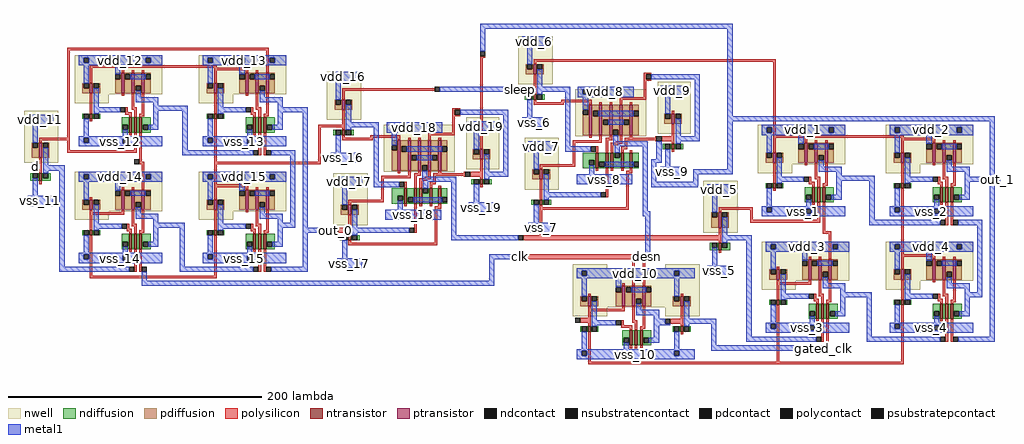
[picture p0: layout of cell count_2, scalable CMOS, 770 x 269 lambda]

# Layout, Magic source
magic
tech scmos
<< nwell >>
rect -350 213 -281 244
rect -252 213 -183 244
rect -350 206 -323 213
rect -252 206 -225 213
rect -390 159 -363 200
rect -151 193 -124 231
rect 0 221 27 259
rect -106 152 -50 189
rect -41 154 -15 195
rect 45 180 101 217
rect 110 182 136 223
rect -350 121 -281 152
rect -252 121 -183 152
rect -350 114 -323 121
rect -252 114 -225 121
rect -146 110 -119 151
rect 5 138 32 179
rect 189 158 258 189
rect 290 158 359 189
rect 189 151 216 158
rect 290 151 317 158
rect 146 104 173 145
rect 43 76 70 79
rect 116 76 143 79
rect 43 45 143 76
rect 192 66 261 97
rect 290 66 359 97
rect 192 59 219 66
rect 290 59 317 66
rect 43 38 70 45
rect 116 38 143 45
<< polysilicon >>
rect -356 248 -197 250
rect -356 179 -354 248
rect -338 234 -238 236
rect -338 222 -336 234
rect -313 230 -311 234
rect -240 232 -213 234
rect -305 230 -303 232
rect -297 230 -295 232
rect -240 222 -238 232
rect -215 230 -213 232
rect -207 230 -205 232
rect -199 230 -197 248
rect -30 242 -26 243
rect -139 216 -66 218
rect -338 198 -336 214
rect -313 212 -311 214
rect -305 203 -303 214
rect -310 199 -308 203
rect -305 201 -301 203
rect -310 197 -305 199
rect -307 195 -305 197
rect -303 195 -301 201
rect -297 198 -295 214
rect -240 198 -238 214
rect -215 212 -213 214
rect -207 203 -205 214
rect -211 199 -209 203
rect -207 201 -203 203
rect -299 196 -295 198
rect -299 195 -297 196
rect -338 192 -336 194
rect -211 197 -207 199
rect -209 195 -207 197
rect -205 195 -203 201
rect -199 198 -197 214
rect -139 209 -137 216
rect -52 201 -46 202
rect -201 196 -197 198
rect -201 195 -199 196
rect -307 181 -305 183
rect -378 177 -354 179
rect -378 175 -376 177
rect -356 169 -354 177
rect -303 169 -301 183
rect -356 167 -301 169
rect -378 158 -376 163
rect -299 160 -297 183
rect -240 160 -238 194
rect -139 189 -137 201
rect -52 197 -50 201
rect -52 196 -46 197
rect -158 187 -137 189
rect -209 181 -207 183
rect -205 165 -203 183
rect -201 165 -199 183
rect -158 160 -156 187
rect -139 185 -137 187
rect -52 183 -50 196
rect -71 181 -50 183
rect -139 179 -137 181
rect -117 179 -93 181
rect -139 177 -115 179
rect -95 177 -93 179
rect -87 177 -85 179
rect -79 177 -77 179
rect -71 177 -69 181
rect -63 177 -61 179
rect -299 158 -295 160
rect -379 154 -376 158
rect -378 151 -376 154
rect -378 142 -376 145
rect -313 138 -311 140
rect -305 138 -303 140
rect -297 138 -295 158
rect -240 158 -156 160
rect -240 142 -238 158
rect -30 170 -28 242
rect 12 239 203 241
rect 12 237 14 239
rect 99 229 105 230
rect 12 219 14 229
rect 4 215 14 219
rect 99 225 101 229
rect 99 224 105 225
rect 12 213 14 215
rect 99 211 101 224
rect 80 209 101 211
rect 12 207 14 209
rect 34 207 58 209
rect 12 205 36 207
rect 56 205 58 207
rect 64 205 66 207
rect 72 205 74 207
rect 80 205 82 209
rect 88 205 90 207
rect 121 198 123 200
rect 56 179 58 181
rect 64 177 66 181
rect 72 179 74 181
rect 43 175 66 177
rect 69 177 74 179
rect -95 151 -93 153
rect -87 149 -85 153
rect -79 151 -77 153
rect -108 147 -85 149
rect -82 149 -77 151
rect -240 140 -213 142
rect -338 130 -336 132
rect -240 130 -238 140
rect -215 138 -213 140
rect -207 138 -205 140
rect -199 138 -197 140
rect -108 130 -106 147
rect -90 139 -88 144
rect -82 139 -80 149
rect -71 148 -69 153
rect -63 151 -61 153
rect -30 152 -28 162
rect 43 158 45 175
rect 61 167 63 172
rect 69 167 71 177
rect 80 176 82 181
rect 88 179 90 181
rect 121 180 123 190
rect 108 179 109 180
rect 77 175 82 176
rect 73 174 82 175
rect 84 177 109 179
rect 73 173 79 174
rect 73 167 75 173
rect 84 172 86 177
rect 108 176 109 177
rect 113 176 123 180
rect 121 174 123 176
rect 201 181 203 239
rect 201 179 304 181
rect 81 170 86 172
rect 81 167 83 170
rect 88 167 90 169
rect 121 168 123 170
rect 201 167 203 179
rect 226 175 228 179
rect 302 177 329 179
rect 234 175 236 177
rect 242 175 244 177
rect 17 156 45 158
rect 17 154 19 156
rect 302 167 304 177
rect 327 175 329 177
rect 335 175 337 177
rect 343 175 345 177
rect -43 151 -42 152
rect -74 147 -69 148
rect -78 146 -69 147
rect -67 149 -42 151
rect -78 145 -72 146
rect -78 139 -76 145
rect -67 144 -65 149
rect -43 148 -42 149
rect -38 148 -28 152
rect -30 146 -28 148
rect 61 153 63 155
rect -70 142 -65 144
rect -70 139 -68 142
rect -63 139 -61 141
rect -30 140 -28 142
rect -134 128 -106 130
rect -134 126 -132 128
rect 17 130 19 146
rect 69 132 71 155
rect 73 153 75 155
rect 81 153 83 155
rect 88 153 90 155
rect 85 151 90 153
rect -338 120 -336 122
rect -313 120 -311 122
rect -338 118 -311 120
rect -338 106 -336 118
rect -305 111 -303 122
rect -309 107 -307 111
rect -305 109 -301 111
rect -309 105 -305 107
rect -307 103 -305 105
rect -303 103 -301 109
rect -297 106 -295 122
rect -240 106 -238 122
rect -215 120 -213 122
rect -207 111 -205 122
rect -211 107 -209 111
rect -207 109 -203 111
rect -299 104 -295 106
rect -299 103 -297 104
rect -338 70 -336 102
rect -211 105 -207 107
rect -209 103 -207 105
rect -205 103 -203 109
rect -199 106 -197 122
rect -90 125 -88 127
rect -134 108 -132 118
rect -201 104 -197 106
rect -142 104 -132 108
rect -82 104 -80 127
rect -78 125 -76 127
rect -70 125 -68 127
rect -63 125 -61 127
rect -66 123 -61 125
rect 17 124 19 126
rect 85 124 87 151
rect 201 143 203 159
rect 226 157 228 159
rect 234 148 236 159
rect 229 144 231 148
rect 234 146 238 148
rect 229 142 234 144
rect 232 140 234 142
rect 236 140 238 146
rect 242 143 244 159
rect 302 143 304 159
rect 327 157 329 159
rect 335 148 337 159
rect 331 144 333 148
rect 335 146 339 148
rect 240 141 244 143
rect 240 140 242 141
rect 201 137 203 139
rect 331 142 335 144
rect 333 140 335 142
rect 337 140 339 146
rect 343 143 345 159
rect 341 141 345 143
rect 341 140 343 141
rect 232 126 234 128
rect -201 103 -199 104
rect -307 89 -305 91
rect -303 73 -301 91
rect -299 73 -297 91
rect -240 70 -238 102
rect -134 102 -132 104
rect -134 96 -132 98
rect -66 96 -64 123
rect 17 122 87 124
rect 158 122 185 124
rect 17 102 19 122
rect 158 120 160 122
rect 183 114 185 122
rect 236 114 238 128
rect 183 112 238 114
rect 158 102 160 108
rect 240 105 242 128
rect 240 103 247 105
rect 4 98 160 102
rect 158 96 160 98
rect -134 94 -64 96
rect -209 89 -207 91
rect -205 73 -203 91
rect -201 73 -199 91
rect 158 88 160 90
rect 4 83 92 87
rect -338 68 -238 70
rect 82 62 84 64
rect 90 62 92 83
rect 98 62 100 87
rect 229 83 231 85
rect 237 83 239 85
rect 245 83 247 103
rect 302 87 304 139
rect 333 126 335 128
rect 337 110 339 128
rect 341 110 343 128
rect 302 85 329 87
rect 204 75 206 77
rect 302 75 304 85
rect 327 83 329 85
rect 335 83 337 85
rect 343 83 345 85
rect 204 65 206 67
rect 229 65 231 67
rect 204 63 231 65
rect 55 54 57 56
rect 128 54 130 56
rect 204 51 206 63
rect 237 56 239 67
rect 233 52 235 56
rect 237 54 241 56
rect 233 50 237 52
rect 235 48 237 50
rect 239 48 241 54
rect 245 51 247 67
rect 302 51 304 67
rect 327 65 329 67
rect 335 56 337 67
rect 331 52 333 56
rect 335 54 339 56
rect 243 49 247 51
rect 243 48 245 49
rect 55 44 57 46
rect 82 44 84 46
rect 55 42 84 44
rect 55 37 57 42
rect 49 33 57 37
rect 90 35 92 46
rect 55 30 57 33
rect 81 31 83 35
rect 90 33 94 35
rect 81 29 90 31
rect 88 27 90 29
rect 92 27 94 33
rect 98 30 100 46
rect 128 36 130 46
rect 120 32 130 36
rect 128 30 130 32
rect 96 28 100 30
rect 96 27 98 28
rect 55 2 57 26
rect 128 24 130 26
rect 88 13 90 15
rect 92 13 94 15
rect 96 13 98 15
rect 204 2 206 47
rect 331 50 335 52
rect 333 48 335 50
rect 337 48 339 54
rect 343 51 345 67
rect 341 49 345 51
rect 341 48 343 49
rect 235 34 237 36
rect 239 18 241 36
rect 243 11 245 36
rect 302 2 304 47
rect 333 34 335 36
rect 337 18 339 36
rect 341 18 343 36
rect 55 0 304 2
<< ndiffusion >>
rect -344 194 -343 198
rect -339 194 -338 198
rect -336 194 -335 198
rect -331 194 -330 198
rect -313 189 -307 195
rect -313 185 -312 189
rect -308 185 -307 189
rect -313 183 -307 185
rect -305 183 -303 195
rect -301 183 -299 195
rect -297 189 -290 195
rect -246 194 -245 198
rect -241 194 -240 198
rect -238 194 -237 198
rect -233 194 -232 198
rect -297 185 -296 189
rect -292 185 -290 189
rect -297 183 -290 185
rect -215 189 -209 195
rect -215 185 -214 189
rect -210 185 -209 189
rect -215 183 -209 185
rect -207 183 -205 195
rect -203 183 -201 195
rect -199 189 -192 195
rect -199 185 -198 189
rect -194 185 -192 189
rect -199 183 -192 185
rect -146 181 -144 185
rect -140 181 -139 185
rect -137 181 -136 185
rect -132 181 -130 185
rect -385 147 -383 151
rect -379 147 -378 151
rect -385 145 -378 147
rect -376 147 -375 151
rect -371 147 -369 151
rect -376 145 -369 147
rect 5 209 7 213
rect 11 209 12 213
rect 14 209 15 213
rect 19 209 21 213
rect 114 170 116 174
rect 120 170 121 174
rect 123 170 124 174
rect 128 170 130 174
rect 51 161 61 167
rect 51 157 56 161
rect 60 157 61 161
rect 51 155 61 157
rect 63 160 69 167
rect 63 156 64 160
rect 68 156 69 160
rect 63 155 69 156
rect 71 155 73 167
rect 75 163 76 167
rect 80 163 81 167
rect 75 155 81 163
rect 83 155 88 167
rect 90 160 95 167
rect 90 156 91 160
rect 90 155 95 156
rect -37 142 -35 146
rect -31 142 -30 146
rect -28 142 -27 146
rect -23 142 -21 146
rect -100 133 -90 139
rect -100 129 -95 133
rect -91 129 -90 133
rect -100 127 -90 129
rect -88 132 -82 139
rect -88 128 -87 132
rect -83 128 -82 132
rect -88 127 -82 128
rect -80 127 -78 139
rect -76 135 -75 139
rect -71 135 -70 139
rect -76 127 -70 135
rect -68 127 -63 139
rect -61 132 -56 139
rect -61 128 -60 132
rect -61 127 -56 128
rect -344 102 -343 106
rect -339 102 -338 106
rect -336 102 -335 106
rect -331 102 -330 106
rect -313 97 -307 103
rect -313 93 -312 97
rect -308 93 -307 97
rect -313 91 -307 93
rect -305 91 -303 103
rect -301 91 -299 103
rect -297 97 -290 103
rect -246 102 -245 106
rect -241 102 -240 106
rect -238 102 -237 106
rect -233 102 -232 106
rect 10 126 12 130
rect 16 126 17 130
rect 19 126 20 130
rect 24 126 26 130
rect 195 139 196 143
rect 200 139 201 143
rect 203 139 204 143
rect 208 139 209 143
rect 226 134 232 140
rect 226 130 227 134
rect 231 130 232 134
rect 226 128 232 130
rect 234 128 236 140
rect 238 128 240 140
rect 242 134 249 140
rect 296 139 297 143
rect 301 139 302 143
rect 304 139 305 143
rect 309 139 310 143
rect 242 130 243 134
rect 247 130 249 134
rect 242 128 249 130
rect -297 93 -296 97
rect -292 93 -290 97
rect -297 91 -290 93
rect -215 97 -209 103
rect -215 93 -214 97
rect -210 93 -209 97
rect -215 91 -209 93
rect -207 91 -205 103
rect -203 91 -201 103
rect -199 97 -192 103
rect -141 98 -139 102
rect -135 98 -134 102
rect -132 98 -131 102
rect -127 98 -125 102
rect -199 93 -198 97
rect -194 93 -192 97
rect -199 91 -192 93
rect 151 92 153 96
rect 157 92 158 96
rect 151 90 158 92
rect 160 92 161 96
rect 165 92 167 96
rect 160 90 167 92
rect 327 134 333 140
rect 327 130 328 134
rect 332 130 333 134
rect 327 128 333 130
rect 335 128 337 140
rect 339 128 341 140
rect 343 134 350 140
rect 343 130 344 134
rect 348 130 350 134
rect 343 128 350 130
rect 198 47 199 51
rect 203 47 204 51
rect 206 47 207 51
rect 211 47 212 51
rect 49 26 50 30
rect 54 26 55 30
rect 57 26 58 30
rect 62 26 63 30
rect 82 21 88 27
rect 82 17 83 21
rect 87 17 88 21
rect 82 15 88 17
rect 90 15 92 27
rect 94 15 96 27
rect 98 21 105 27
rect 122 26 123 30
rect 127 26 128 30
rect 130 26 131 30
rect 135 26 136 30
rect 98 17 99 21
rect 103 17 105 21
rect 98 15 105 17
rect 229 42 235 48
rect 229 38 230 42
rect 234 38 235 42
rect 229 36 235 38
rect 237 36 239 48
rect 241 36 243 48
rect 245 42 252 48
rect 296 47 297 51
rect 301 47 302 51
rect 304 47 305 51
rect 309 47 310 51
rect 245 38 246 42
rect 250 38 252 42
rect 245 36 252 38
rect 327 42 333 48
rect 327 38 328 42
rect 332 38 333 42
rect 327 36 333 38
rect 335 36 337 48
rect 339 36 341 48
rect 343 42 350 48
rect 343 38 344 42
rect 348 38 350 42
rect 343 36 350 38
<< pdiffusion >>
rect -318 229 -313 230
rect -314 225 -313 229
rect -344 218 -343 222
rect -339 218 -338 222
rect -344 214 -338 218
rect -336 218 -335 222
rect -331 218 -330 222
rect -336 214 -330 218
rect -318 214 -313 225
rect -311 229 -305 230
rect -311 225 -310 229
rect -306 225 -305 229
rect -311 214 -305 225
rect -303 220 -297 230
rect -303 216 -302 220
rect -298 216 -297 220
rect -303 214 -297 216
rect -295 229 -290 230
rect -295 225 -294 229
rect -295 214 -290 225
rect -220 229 -215 230
rect -216 225 -215 229
rect -246 218 -245 222
rect -241 218 -240 222
rect -246 214 -240 218
rect -238 218 -237 222
rect -233 218 -232 222
rect -238 214 -232 218
rect -220 214 -215 225
rect -213 229 -207 230
rect -213 225 -212 229
rect -208 225 -207 229
rect -213 214 -207 225
rect -205 220 -199 230
rect -205 216 -204 220
rect -200 216 -199 220
rect -205 214 -199 216
rect -197 229 -192 230
rect -197 225 -196 229
rect -197 214 -192 225
rect -145 205 -144 209
rect -140 205 -139 209
rect -145 201 -139 205
rect -137 205 -136 209
rect -132 205 -131 209
rect -137 201 -131 205
rect -384 171 -383 175
rect -379 171 -378 175
rect -384 163 -378 171
rect -376 171 -375 175
rect -371 171 -370 175
rect -376 163 -370 171
rect -100 173 -95 177
rect -96 169 -95 173
rect -100 153 -95 169
rect -93 172 -87 177
rect -93 168 -92 172
rect -88 168 -87 172
rect -93 153 -87 168
rect -85 165 -79 177
rect -85 161 -84 165
rect -80 161 -79 165
rect -85 153 -79 161
rect -77 157 -71 177
rect -77 153 -76 157
rect -72 153 -71 157
rect -69 165 -63 177
rect -69 161 -68 165
rect -64 161 -63 165
rect -69 153 -63 161
rect -61 172 -56 177
rect -61 168 -60 172
rect 6 233 7 237
rect 11 233 12 237
rect 6 229 12 233
rect 14 233 15 237
rect 19 233 20 237
rect 14 229 20 233
rect 51 201 56 205
rect 55 197 56 201
rect 51 181 56 197
rect 58 200 64 205
rect 58 196 59 200
rect 63 196 64 200
rect 58 181 64 196
rect 66 193 72 205
rect 66 189 67 193
rect 71 189 72 193
rect 66 181 72 189
rect 74 185 80 205
rect 74 181 75 185
rect 79 181 80 185
rect 82 193 88 205
rect 82 189 83 193
rect 87 189 88 193
rect 82 181 88 189
rect 90 200 95 205
rect 90 196 91 200
rect 90 181 95 196
rect 115 194 116 198
rect 120 194 121 198
rect 115 190 121 194
rect 123 194 124 198
rect 128 194 129 198
rect 123 190 129 194
rect -61 153 -56 168
rect -36 166 -35 170
rect -31 166 -30 170
rect -36 162 -30 166
rect -28 166 -27 170
rect -23 166 -22 170
rect -28 162 -22 166
rect -318 137 -313 138
rect -314 133 -313 137
rect -344 126 -343 130
rect -339 126 -338 130
rect -344 122 -338 126
rect -336 126 -335 130
rect -331 126 -330 130
rect -336 122 -330 126
rect -318 122 -313 133
rect -311 137 -305 138
rect -311 133 -310 137
rect -306 133 -305 137
rect -311 122 -305 133
rect -303 128 -297 138
rect -303 124 -302 128
rect -298 124 -297 128
rect -303 122 -297 124
rect -295 137 -290 138
rect -295 133 -294 137
rect -295 122 -290 133
rect -220 137 -215 138
rect -216 133 -215 137
rect -246 126 -245 130
rect -241 126 -240 130
rect -246 122 -240 126
rect -238 126 -237 130
rect -233 126 -232 130
rect -238 122 -232 126
rect -220 122 -215 133
rect -213 137 -207 138
rect -213 133 -212 137
rect -208 133 -207 137
rect -213 122 -207 133
rect -205 128 -199 138
rect -205 124 -204 128
rect -200 124 -199 128
rect -205 122 -199 124
rect -197 137 -192 138
rect -197 133 -196 137
rect -197 122 -192 133
rect 221 174 226 175
rect 225 170 226 174
rect 195 163 196 167
rect 200 163 201 167
rect 195 159 201 163
rect 203 163 204 167
rect 208 163 209 167
rect 203 159 209 163
rect 221 159 226 170
rect 228 174 234 175
rect 228 170 229 174
rect 233 170 234 174
rect 228 159 234 170
rect 236 165 242 175
rect 236 161 237 165
rect 241 161 242 165
rect 236 159 242 161
rect 244 174 249 175
rect 244 170 245 174
rect 244 159 249 170
rect 322 174 327 175
rect 326 170 327 174
rect 296 163 297 167
rect 301 163 302 167
rect 296 159 302 163
rect 304 163 305 167
rect 309 163 310 167
rect 304 159 310 163
rect 322 159 327 170
rect 329 174 335 175
rect 329 170 330 174
rect 334 170 335 174
rect 329 159 335 170
rect 337 165 343 175
rect 337 161 338 165
rect 342 161 343 165
rect 337 159 343 161
rect 345 174 350 175
rect 345 170 346 174
rect 345 159 350 170
rect 11 150 12 154
rect 16 150 17 154
rect 11 146 17 150
rect 19 150 20 154
rect 24 150 25 154
rect 19 146 25 150
rect -140 122 -139 126
rect -135 122 -134 126
rect -140 118 -134 122
rect -132 122 -131 126
rect -127 122 -126 126
rect -132 118 -126 122
rect 152 116 153 120
rect 157 116 158 120
rect 152 108 158 116
rect 160 116 161 120
rect 165 116 166 120
rect 160 108 166 116
rect 224 82 229 83
rect 228 78 229 82
rect 198 71 199 75
rect 203 71 204 75
rect 198 67 204 71
rect 206 71 207 75
rect 211 71 212 75
rect 206 67 212 71
rect 224 67 229 78
rect 231 82 237 83
rect 231 78 232 82
rect 236 78 237 82
rect 231 67 237 78
rect 239 73 245 83
rect 239 69 240 73
rect 244 69 245 73
rect 239 67 245 69
rect 247 82 252 83
rect 247 78 248 82
rect 247 67 252 78
rect 322 82 327 83
rect 326 78 327 82
rect 296 71 297 75
rect 301 71 302 75
rect 296 67 302 71
rect 304 71 305 75
rect 309 71 310 75
rect 304 67 310 71
rect 322 67 327 78
rect 329 82 335 83
rect 329 78 330 82
rect 334 78 335 82
rect 329 67 335 78
rect 337 73 343 83
rect 337 69 338 73
rect 342 69 343 73
rect 337 67 343 69
rect 345 82 350 83
rect 345 78 346 82
rect 345 67 350 78
rect 77 61 82 62
rect 81 57 82 61
rect 49 50 50 54
rect 54 50 55 54
rect 49 46 55 50
rect 57 50 58 54
rect 62 50 63 54
rect 57 46 63 50
rect 77 46 82 57
rect 84 61 90 62
rect 84 57 85 61
rect 89 57 90 61
rect 84 46 90 57
rect 92 52 98 62
rect 92 48 93 52
rect 97 48 98 52
rect 92 46 98 48
rect 100 61 105 62
rect 100 57 101 61
rect 100 46 105 57
rect 122 50 123 54
rect 127 50 128 54
rect 122 46 128 50
rect 130 50 131 54
rect 135 50 136 54
rect 130 46 136 50
<< metal1 >>
rect -30 265 169 269
rect -30 247 -26 265
rect 3 257 23 259
rect 3 253 7 257
rect 11 253 23 257
rect 3 251 23 253
rect -347 242 -281 244
rect -347 238 -343 242
rect -339 238 -318 242
rect -314 238 -294 242
rect -290 238 -281 242
rect -347 236 -281 238
rect -249 242 -183 244
rect -249 238 -245 242
rect -241 238 -220 242
rect -216 238 -196 242
rect -192 238 -183 242
rect -249 236 -183 238
rect 7 237 11 251
rect -343 222 -339 236
rect -318 229 -314 236
rect -306 225 -294 229
rect -245 222 -241 236
rect -220 229 -216 236
rect -148 229 -128 231
rect -208 225 -196 229
rect -148 225 -144 229
rect -140 225 -128 229
rect -148 223 -128 225
rect -335 203 -331 218
rect -302 211 -298 216
rect -302 207 -284 211
rect -288 204 -284 207
rect -335 199 -314 203
rect -288 200 -261 204
rect -335 198 -331 199
rect -387 195 -367 197
rect -387 191 -383 195
rect -379 191 -367 195
rect -387 189 -367 191
rect -383 175 -379 189
rect -343 180 -339 194
rect -288 189 -284 200
rect -292 185 -284 189
rect -312 180 -308 185
rect -347 179 -281 180
rect -347 175 -343 179
rect -339 178 -281 179
rect -339 175 -312 178
rect -347 174 -312 175
rect -308 174 -281 178
rect -347 172 -281 174
rect -375 157 -371 171
rect -265 169 -261 200
rect -237 203 -233 218
rect -204 211 -200 216
rect -204 207 -186 211
rect -190 203 -186 207
rect -144 209 -140 223
rect 15 219 19 233
rect 105 225 143 229
rect -62 215 0 219
rect 15 215 41 219
rect 15 213 19 215
rect -237 199 -215 203
rect -190 199 -166 203
rect -237 198 -233 199
rect -245 180 -241 194
rect -190 189 -186 199
rect -194 185 -186 189
rect -214 180 -210 185
rect -249 179 -183 180
rect -249 175 -245 179
rect -241 178 -183 179
rect -241 175 -214 178
rect -249 174 -214 175
rect -210 174 -183 178
rect -249 172 -183 174
rect -265 165 -209 169
rect -195 165 -176 169
rect -375 153 -358 157
rect -375 151 -371 153
rect -383 133 -379 147
rect -387 132 -367 133
rect -387 128 -383 132
rect -379 128 -367 132
rect -387 125 -367 128
rect -362 77 -358 153
rect -347 150 -281 152
rect -347 146 -343 150
rect -339 146 -318 150
rect -314 146 -294 150
rect -290 146 -281 150
rect -347 144 -281 146
rect -249 150 -183 152
rect -249 146 -245 150
rect -241 146 -220 150
rect -216 146 -196 150
rect -192 146 -183 150
rect -249 144 -183 146
rect -343 130 -339 144
rect -318 137 -314 144
rect -306 133 -294 137
rect -245 130 -241 144
rect -220 137 -216 144
rect -208 133 -196 137
rect -335 111 -331 126
rect -302 119 -298 124
rect -302 115 -284 119
rect -288 112 -284 115
rect -335 107 -313 111
rect -288 108 -263 112
rect -335 106 -331 107
rect -343 88 -339 102
rect -288 97 -284 108
rect -292 93 -284 97
rect -312 88 -308 93
rect -347 87 -281 88
rect -347 83 -343 87
rect -339 86 -281 87
rect -339 83 -312 86
rect -347 82 -312 83
rect -308 82 -281 86
rect -347 80 -281 82
rect -267 77 -263 108
rect -237 111 -233 126
rect -204 119 -200 124
rect -204 115 -186 119
rect -190 112 -186 115
rect -180 112 -176 165
rect -237 107 -215 111
rect -190 108 -176 112
rect -170 108 -166 199
rect -136 191 -132 205
rect -46 197 -8 201
rect -136 187 -110 191
rect -136 185 -132 187
rect -144 167 -140 181
rect -148 166 -128 167
rect -148 162 -144 166
rect -140 162 -128 166
rect -148 159 -128 162
rect -143 146 -123 148
rect -143 142 -139 146
rect -135 142 -123 146
rect -143 140 -123 142
rect -114 144 -110 187
rect -104 189 -60 191
rect -104 185 -100 189
rect -96 185 -60 189
rect -104 183 -60 185
rect -39 190 -19 192
rect -39 186 -35 190
rect -31 186 -19 190
rect -39 184 -19 186
rect -100 173 -96 183
rect -88 168 -60 172
rect -35 170 -31 184
rect -80 161 -68 165
rect -76 148 -72 153
rect -27 152 -23 166
rect -12 152 -8 197
rect 7 195 11 209
rect 3 194 23 195
rect 3 190 7 194
rect 11 190 23 194
rect 3 187 23 190
rect 8 174 28 176
rect 8 170 12 174
rect 16 170 28 174
rect 8 168 28 170
rect 37 172 41 215
rect 47 217 91 219
rect 47 213 51 217
rect 55 213 91 217
rect 47 211 91 213
rect 112 218 132 220
rect 112 214 116 218
rect 120 214 132 218
rect 112 212 132 214
rect 51 201 55 211
rect 63 196 91 200
rect 116 198 120 212
rect 71 189 83 193
rect 75 176 79 181
rect 124 180 128 194
rect 139 180 143 225
rect 75 173 102 176
rect 76 172 102 173
rect 37 168 57 172
rect -27 148 -8 152
rect 12 154 16 168
rect 76 167 80 172
rect 56 150 60 157
rect 68 156 91 160
rect -76 145 -49 148
rect -27 146 -23 148
rect -75 144 -49 145
rect -114 140 -94 144
rect -139 126 -135 140
rect -75 139 -71 144
rect -95 122 -91 129
rect -83 128 -60 132
rect -131 108 -127 122
rect -105 120 -61 122
rect -105 116 -95 120
rect -91 116 -61 120
rect -105 114 -61 116
rect -237 106 -233 107
rect -245 88 -241 102
rect -190 97 -186 108
rect -194 93 -186 97
rect -170 104 -146 108
rect -131 104 -86 108
rect -214 88 -210 93
rect -249 87 -183 88
rect -249 83 -245 87
rect -241 86 -183 87
rect -241 83 -214 86
rect -249 82 -214 83
rect -210 82 -183 86
rect -249 80 -183 82
rect -170 77 -166 104
rect -131 102 -127 104
rect -53 102 -49 144
rect -35 128 -31 142
rect 20 136 24 150
rect 46 148 90 150
rect 46 144 56 148
rect 60 144 90 148
rect 46 142 90 144
rect 20 132 65 136
rect 20 130 24 132
rect -39 127 -19 128
rect -39 123 -35 127
rect -31 123 -19 127
rect -39 120 -19 123
rect 12 112 16 126
rect 98 121 102 172
rect 109 162 113 176
rect 124 176 143 180
rect 165 196 169 265
rect 165 192 376 196
rect 124 174 128 176
rect 105 159 113 162
rect 105 144 109 159
rect 116 156 120 170
rect 112 155 132 156
rect 112 151 116 155
rect 120 151 132 155
rect 165 154 169 192
rect 192 187 258 189
rect 192 183 196 187
rect 200 183 221 187
rect 225 183 245 187
rect 249 183 258 187
rect 192 181 258 183
rect 293 187 359 189
rect 293 183 297 187
rect 301 183 322 187
rect 326 183 346 187
rect 350 183 359 187
rect 293 181 359 183
rect 196 167 200 181
rect 221 174 225 181
rect 233 170 245 174
rect 297 167 301 181
rect 322 174 326 181
rect 334 170 346 174
rect 112 148 132 151
rect 138 150 169 154
rect 138 144 142 150
rect 105 140 142 144
rect 204 148 208 163
rect 237 156 241 161
rect 237 152 255 156
rect 251 149 255 152
rect 204 144 225 148
rect 251 145 281 149
rect 204 143 208 144
rect 149 140 169 142
rect 149 136 153 140
rect 157 136 169 140
rect 149 134 169 136
rect 98 117 104 121
rect 8 111 28 112
rect 8 107 12 111
rect 16 107 28 111
rect 8 104 28 107
rect -53 98 0 102
rect -139 84 -135 98
rect 100 87 104 117
rect 153 120 157 134
rect 196 125 200 139
rect 251 134 255 145
rect 247 130 255 134
rect 227 125 231 130
rect 192 124 258 125
rect 192 120 196 124
rect 200 123 258 124
rect 200 120 227 123
rect 192 119 227 120
rect 231 119 258 123
rect 192 117 258 119
rect 161 102 165 116
rect 277 114 281 145
rect 305 148 309 163
rect 338 156 342 161
rect 338 152 356 156
rect 352 148 356 152
rect 372 148 376 192
rect 305 144 327 148
rect 352 144 380 148
rect 305 143 309 144
rect 297 125 301 139
rect 352 134 356 144
rect 348 130 356 134
rect 328 125 332 130
rect 293 124 359 125
rect 293 120 297 124
rect 301 123 359 124
rect 301 120 328 123
rect 293 119 328 120
rect 332 119 359 123
rect 293 117 359 119
rect 277 110 333 114
rect 347 110 366 114
rect 161 98 184 102
rect 161 96 165 98
rect -362 73 -307 77
rect -267 73 -209 77
rect -195 73 -166 77
rect -143 83 -123 84
rect -143 79 -139 83
rect -135 79 -123 83
rect -143 76 -123 79
rect -23 83 0 87
rect -297 66 -293 73
rect -23 66 -19 83
rect 153 78 157 92
rect 149 77 169 78
rect 46 74 139 76
rect 46 70 50 74
rect 54 70 77 74
rect 81 70 101 74
rect 105 70 123 74
rect 127 70 139 74
rect 149 73 153 77
rect 157 73 169 77
rect 149 70 169 73
rect 46 68 139 70
rect -297 62 -19 66
rect 50 54 54 68
rect 77 61 81 68
rect 89 57 101 61
rect 123 54 127 68
rect 58 35 62 50
rect 93 43 97 48
rect 93 39 111 43
rect 107 36 111 39
rect 131 36 135 50
rect 58 31 77 35
rect 107 32 116 36
rect 107 31 120 32
rect 131 32 156 36
rect 58 30 62 31
rect 50 12 54 26
rect 107 21 111 31
rect 131 30 135 32
rect 103 17 111 21
rect 83 12 87 17
rect 123 12 127 26
rect 152 15 156 32
rect 180 22 184 98
rect 195 95 261 97
rect 195 91 199 95
rect 203 91 224 95
rect 228 91 248 95
rect 252 91 261 95
rect 195 89 261 91
rect 293 95 359 97
rect 293 91 297 95
rect 301 91 322 95
rect 326 91 346 95
rect 350 91 359 95
rect 293 89 359 91
rect 199 75 203 89
rect 224 82 228 89
rect 236 78 248 82
rect 297 75 301 89
rect 322 82 326 89
rect 334 78 346 82
rect 207 56 211 71
rect 240 64 244 69
rect 240 60 258 64
rect 254 57 258 60
rect 207 52 229 56
rect 254 53 279 57
rect 207 51 211 52
rect 199 33 203 47
rect 254 42 258 53
rect 250 38 258 42
rect 230 33 234 38
rect 195 32 261 33
rect 195 28 199 32
rect 203 31 261 32
rect 203 28 230 31
rect 195 27 230 28
rect 234 27 261 31
rect 195 25 261 27
rect 275 22 279 53
rect 305 56 309 71
rect 338 64 342 69
rect 338 60 356 64
rect 352 57 356 60
rect 362 57 366 110
rect 305 52 327 56
rect 352 53 366 57
rect 305 51 309 52
rect 297 33 301 47
rect 352 42 356 53
rect 348 38 356 42
rect 328 33 332 38
rect 293 32 359 33
rect 293 28 297 32
rect 301 31 359 32
rect 301 28 328 31
rect 293 27 328 28
rect 332 27 359 31
rect 293 25 359 27
rect 372 22 376 144
rect 180 18 235 22
rect 275 18 333 22
rect 347 18 376 22
rect 46 11 139 12
rect 152 11 239 15
rect 46 7 50 11
rect 54 10 123 11
rect 54 7 83 10
rect 46 6 83 7
rect 87 7 123 10
rect 127 7 139 11
rect 87 6 139 7
rect 46 4 139 6
<< ntransistor >>
rect -338 194 -336 198
rect -307 183 -305 195
rect -303 183 -301 195
rect -299 183 -297 195
rect -240 194 -238 198
rect -209 183 -207 195
rect -205 183 -203 195
rect -201 183 -199 195
rect -139 181 -137 185
rect -378 145 -376 151
rect 12 209 14 213
rect 121 170 123 174
rect 61 155 63 167
rect 69 155 71 167
rect 73 155 75 167
rect 81 155 83 167
rect 88 155 90 167
rect -30 142 -28 146
rect -90 127 -88 139
rect -82 127 -80 139
rect -78 127 -76 139
rect -70 127 -68 139
rect -63 127 -61 139
rect -338 102 -336 106
rect -307 91 -305 103
rect -303 91 -301 103
rect -299 91 -297 103
rect -240 102 -238 106
rect 17 126 19 130
rect 201 139 203 143
rect 232 128 234 140
rect 236 128 238 140
rect 240 128 242 140
rect 302 139 304 143
rect -209 91 -207 103
rect -205 91 -203 103
rect -201 91 -199 103
rect -134 98 -132 102
rect 158 90 160 96
rect 333 128 335 140
rect 337 128 339 140
rect 341 128 343 140
rect 204 47 206 51
rect 55 26 57 30
rect 88 15 90 27
rect 92 15 94 27
rect 96 15 98 27
rect 128 26 130 30
rect 235 36 237 48
rect 239 36 241 48
rect 243 36 245 48
rect 302 47 304 51
rect 333 36 335 48
rect 337 36 339 48
rect 341 36 343 48
<< ptransistor >>
rect -338 214 -336 222
rect -313 214 -311 230
rect -305 214 -303 230
rect -297 214 -295 230
rect -240 214 -238 222
rect -215 214 -213 230
rect -207 214 -205 230
rect -199 214 -197 230
rect -139 201 -137 209
rect -378 163 -376 175
rect -95 153 -93 177
rect -87 153 -85 177
rect -79 153 -77 177
rect -71 153 -69 177
rect -63 153 -61 177
rect 12 229 14 237
rect 56 181 58 205
rect 64 181 66 205
rect 72 181 74 205
rect 80 181 82 205
rect 88 181 90 205
rect 121 190 123 198
rect -30 162 -28 170
rect -338 122 -336 130
rect -313 122 -311 138
rect -305 122 -303 138
rect -297 122 -295 138
rect -240 122 -238 130
rect -215 122 -213 138
rect -207 122 -205 138
rect -199 122 -197 138
rect 201 159 203 167
rect 226 159 228 175
rect 234 159 236 175
rect 242 159 244 175
rect 302 159 304 167
rect 327 159 329 175
rect 335 159 337 175
rect 343 159 345 175
rect 17 146 19 154
rect -134 118 -132 126
rect 158 108 160 120
rect 204 67 206 75
rect 229 67 231 83
rect 237 67 239 83
rect 245 67 247 83
rect 302 67 304 75
rect 327 67 329 83
rect 335 67 337 83
rect 343 67 345 83
rect 55 46 57 54
rect 82 46 84 62
rect 90 46 92 62
rect 98 46 100 62
rect 128 46 130 54
<< polycontact >>
rect -30 243 -26 247
rect -314 199 -310 203
rect -215 199 -211 203
rect -66 215 -62 219
rect -303 158 -299 162
rect -50 197 -46 201
rect -209 165 -205 169
rect -199 165 -195 169
rect -383 154 -379 158
rect 0 215 4 219
rect 101 225 105 229
rect -94 140 -90 144
rect 57 168 61 172
rect 109 176 113 180
rect -42 148 -38 152
rect 65 132 69 136
rect -313 107 -309 111
rect -215 107 -211 111
rect -146 104 -142 108
rect -86 104 -82 108
rect 225 144 229 148
rect 327 144 331 148
rect -307 73 -303 77
rect -297 73 -293 77
rect 0 98 4 102
rect -209 73 -205 77
rect 0 83 4 87
rect -199 73 -195 77
rect 100 83 104 87
rect 333 110 337 114
rect 343 110 347 114
rect 229 52 233 56
rect 327 52 331 56
rect 45 33 49 37
rect 77 31 81 35
rect 116 32 120 36
rect 235 18 239 22
rect 239 11 243 15
rect 333 18 337 22
rect 343 18 347 22
<< ndcontact >>
rect -343 194 -339 198
rect -335 194 -331 198
rect -312 185 -308 189
rect -245 194 -241 198
rect -237 194 -233 198
rect -296 185 -292 189
rect -214 185 -210 189
rect -198 185 -194 189
rect -144 181 -140 185
rect -136 181 -132 185
rect -383 147 -379 151
rect -375 147 -371 151
rect 7 209 11 213
rect 15 209 19 213
rect 116 170 120 174
rect 124 170 128 174
rect 56 157 60 161
rect 64 156 68 160
rect 76 163 80 167
rect 91 156 95 160
rect -35 142 -31 146
rect -27 142 -23 146
rect -95 129 -91 133
rect -87 128 -83 132
rect -75 135 -71 139
rect -60 128 -56 132
rect -343 102 -339 106
rect -335 102 -331 106
rect -312 93 -308 97
rect -245 102 -241 106
rect -237 102 -233 106
rect 12 126 16 130
rect 20 126 24 130
rect 196 139 200 143
rect 204 139 208 143
rect 227 130 231 134
rect 297 139 301 143
rect 305 139 309 143
rect 243 130 247 134
rect -296 93 -292 97
rect -214 93 -210 97
rect -139 98 -135 102
rect -131 98 -127 102
rect -198 93 -194 97
rect 153 92 157 96
rect 161 92 165 96
rect 328 130 332 134
rect 344 130 348 134
rect 199 47 203 51
rect 207 47 211 51
rect 50 26 54 30
rect 58 26 62 30
rect 83 17 87 21
rect 123 26 127 30
rect 131 26 135 30
rect 99 17 103 21
rect 230 38 234 42
rect 297 47 301 51
rect 305 47 309 51
rect 246 38 250 42
rect 328 38 332 42
rect 344 38 348 42
<< pdcontact >>
rect -318 225 -314 229
rect -343 218 -339 222
rect -335 218 -331 222
rect -310 225 -306 229
rect -302 216 -298 220
rect -294 225 -290 229
rect -220 225 -216 229
rect -245 218 -241 222
rect -237 218 -233 222
rect -212 225 -208 229
rect -204 216 -200 220
rect -196 225 -192 229
rect -144 205 -140 209
rect -136 205 -132 209
rect -383 171 -379 175
rect -375 171 -371 175
rect -100 169 -96 173
rect -92 168 -88 172
rect -84 161 -80 165
rect -76 153 -72 157
rect -68 161 -64 165
rect -60 168 -56 172
rect 7 233 11 237
rect 15 233 19 237
rect 51 197 55 201
rect 59 196 63 200
rect 67 189 71 193
rect 75 181 79 185
rect 83 189 87 193
rect 91 196 95 200
rect 116 194 120 198
rect 124 194 128 198
rect -35 166 -31 170
rect -27 166 -23 170
rect -318 133 -314 137
rect -343 126 -339 130
rect -335 126 -331 130
rect -310 133 -306 137
rect -302 124 -298 128
rect -294 133 -290 137
rect -220 133 -216 137
rect -245 126 -241 130
rect -237 126 -233 130
rect -212 133 -208 137
rect -204 124 -200 128
rect -196 133 -192 137
rect 221 170 225 174
rect 196 163 200 167
rect 204 163 208 167
rect 229 170 233 174
rect 237 161 241 165
rect 245 170 249 174
rect 322 170 326 174
rect 297 163 301 167
rect 305 163 309 167
rect 330 170 334 174
rect 338 161 342 165
rect 346 170 350 174
rect 12 150 16 154
rect 20 150 24 154
rect -139 122 -135 126
rect -131 122 -127 126
rect 153 116 157 120
rect 161 116 165 120
rect 224 78 228 82
rect 199 71 203 75
rect 207 71 211 75
rect 232 78 236 82
rect 240 69 244 73
rect 248 78 252 82
rect 322 78 326 82
rect 297 71 301 75
rect 305 71 309 75
rect 330 78 334 82
rect 338 69 342 73
rect 346 78 350 82
rect 77 57 81 61
rect 50 50 54 54
rect 58 50 62 54
rect 85 57 89 61
rect 93 48 97 52
rect 101 57 105 61
rect 123 50 127 54
rect 131 50 135 54
<< psubstratepcontact >>
rect -343 175 -339 179
rect -312 174 -308 178
rect -245 175 -241 179
rect -214 174 -210 178
rect -144 162 -140 166
rect 7 190 11 194
rect -383 128 -379 132
rect 56 144 60 148
rect 116 151 120 155
rect -343 83 -339 87
rect -95 116 -91 120
rect -35 123 -31 127
rect -312 82 -308 86
rect -245 83 -241 87
rect 12 107 16 111
rect 196 120 200 124
rect 227 119 231 123
rect 297 120 301 124
rect -214 82 -210 86
rect -139 79 -135 83
rect 328 119 332 123
rect 153 73 157 77
rect 50 7 54 11
rect 199 28 203 32
rect 83 6 87 10
rect 123 7 127 11
rect 230 27 234 31
rect 297 28 301 32
rect 328 27 332 31
<< nsubstratencontact >>
rect 7 253 11 257
rect -383 191 -379 195
rect -343 238 -339 242
rect -318 238 -314 242
rect -294 238 -290 242
rect -245 238 -241 242
rect -220 238 -216 242
rect -196 238 -192 242
rect -144 225 -140 229
rect -100 185 -96 189
rect -35 186 -31 190
rect -343 146 -339 150
rect -318 146 -314 150
rect -294 146 -290 150
rect -245 146 -241 150
rect 51 213 55 217
rect 116 214 120 218
rect 12 170 16 174
rect -220 146 -216 150
rect -196 146 -192 150
rect -139 142 -135 146
rect 196 183 200 187
rect 221 183 225 187
rect 245 183 249 187
rect 297 183 301 187
rect 322 183 326 187
rect 346 183 350 187
rect 153 136 157 140
rect 199 91 203 95
rect 224 91 228 95
rect 50 70 54 74
rect 77 70 81 74
rect 248 91 252 95
rect 297 91 301 95
rect 322 91 326 95
rect 346 91 350 95
rect 101 70 105 74
rect 123 70 127 74
<< labels >>
rlabel nwell 192 181 258 189 1 vdd_1
rlabel nwell 293 181 359 189 1 vdd_2
rlabel nwell 293 89 359 97 1 vdd_4
rlabel nwell 195 89 261 97 1 vdd_3
rlabel metal1 192 117 258 125 5 vss_1
rlabel metal1 293 117 359 125 5 vss_2
rlabel metal1 293 25 359 33 5 vss_4
rlabel metal1 195 25 261 33 5 vss_3
rlabel polycontact 239 11 243 15 5 gated_clk
rlabel metal1 149 70 169 78 5 vss_5
rlabel nwell 149 134 169 142 1 vdd_5
rlabel nwell 46 68 139 76 1 vdd_10
rlabel metal1 46 4 139 12 5 vss_10
rlabel polycontact 0 215 4 219 5 sleep
rlabel nwell 3 251 23 259 1 vdd_6
rlabel metal1 3 187 23 195 5 vss_6
rlabel nwell 8 168 28 176 1 vdd_7
rlabel metal1 8 104 28 112 5 vss_7
rlabel metal1 47 211 91 219 1 vdd_8
rlabel metal1 46 142 90 150 5 vss_8
rlabel nwell 112 212 132 220 1 vdd_9
rlabel metal1 112 148 132 156 5 vss_9
rlabel polycontact 0 83 4 87 5 clk
rlabel nwell -387 189 -367 197 1 vdd_11
rlabel metal1 -387 125 -367 133 5 vss_11
rlabel nwell -347 236 -281 244 1 vdd_12
rlabel nwell -249 236 -183 244 1 vdd_13
rlabel nwell -347 144 -281 152 1 vdd_14
rlabel nwell -249 144 -183 152 1 vdd_15
rlabel metal1 -347 172 -281 180 5 vss_12
rlabel metal1 -249 172 -183 180 5 vss_13
rlabel metal1 -347 80 -281 88 5 vss_14
rlabel metal1 -249 80 -183 88 5 vss_15
rlabel nwell -148 223 -128 231 1 vdd_16
rlabel nwell -143 140 -123 148 1 vdd_17
rlabel metal1 -104 183 -60 191 1 vdd_18
rlabel nwell -39 184 -19 192 1 vdd_19
rlabel metal1 -148 159 -128 167 5 vss_16
rlabel metal1 -143 76 -123 84 5 vss_17
rlabel metal1 -39 120 -19 128 5 vss_19
rlabel metal1 -105 114 -61 122 5 vss_18
rlabel metal1 376 144 380 148 3 out_1
rlabel polycontact -146 104 -142 108 5 out_0
rlabel polycontact -383 154 -379 158 7 d
rlabel polycontact 0 98 4 102 5 d2
rlabel polycontact 100 83 104 87 3 desn
<< end >>
